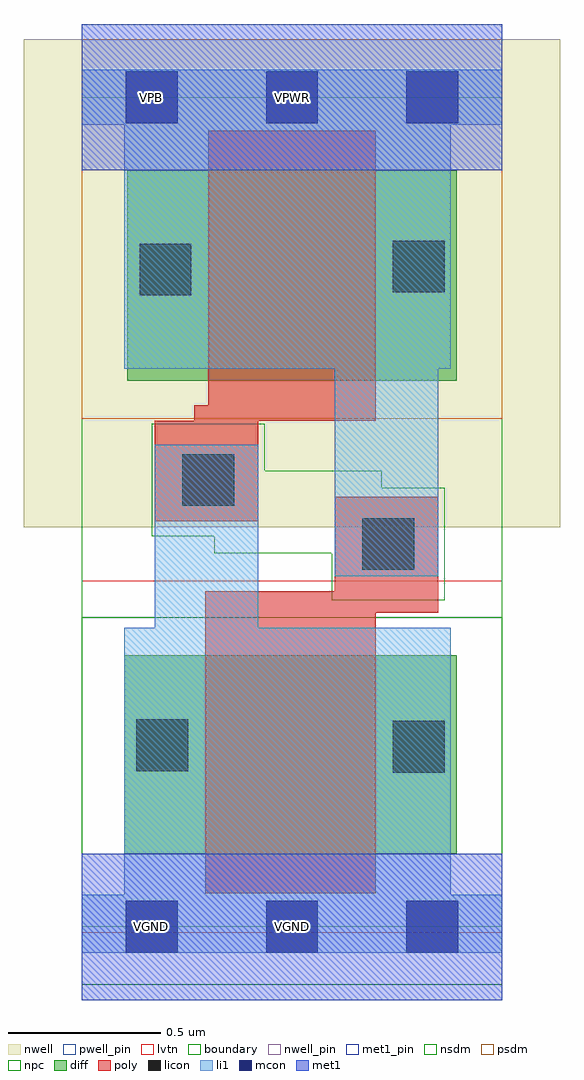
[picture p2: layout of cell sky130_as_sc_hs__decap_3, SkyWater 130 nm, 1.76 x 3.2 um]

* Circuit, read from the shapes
.subckt sky130_as_sc_hs__decap_3 VGND VNB VPB VPWR
XM1 VGND VPWR VGND VNB sky130_fd_pr__nfet_01v8_lvt w=0.65 l=0.56
XM2 VPWR VGND VPWR VPB sky130_fd_pr__pfet_01v8 w=0.69 l=0.55
.ends

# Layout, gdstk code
import gdstk
lib = gdstk.Library(unit=1e-6, precision=1e-09)
def R(c, l, rs):  # rectangles x0, y0, x1, y1
    for r in rs: c.add(gdstk.rectangle(r[:2], r[2:], *l))
def A(c, l, x, y, w, h, nx, ny, dx, dy):  # array of equal rectangles
    R(c, l, [(x+i*dx, y+j*dy, x+i*dx+w, y+j*dy+h) for i in range(nx) for j in range(ny)])
nwell_pin = (64, 16)
nwell = (64, 20)
diff = (65, 20)
poly = (66, 20)
licon = (66, 44)
li1 = (67, 20)
mcon = (67, 44)
met1_pin = (68, 16)
met1 = (68, 20)
nsdm = (93, 44)
psdm = (94, 20)
npc = (95, 20)
pwell_pin = (122, 16)
lvtn = (125, 44)
boundary = (235, 4)

sky130_as_sc_hs__decap_3 = lib.new_cell('sky130_as_sc_hs__decap_3')
R(sky130_as_sc_hs__decap_3, nwell_pin, [(0.145,2.635,0.315,2.805)])
R(sky130_as_sc_hs__decap_3, nwell, [(-0.19,1.31,1.57,2.91)])
R(sky130_as_sc_hs__decap_3, diff, [(0.14,0.24,1.23,0.89), (0.15,1.79,1.23,2.48)])
R(sky130_as_sc_hs__decap_3, poly, [(0.405,0.11,0.965,1.03), (0.405,1.03,1.17,1.1), (0.83,1.1,1.17,1.41), (0.24,1.33,0.58,1.66), (0.37,1.66,0.965,1.71), (0.415,1.71,0.965,2.61)])
R(sky130_as_sc_hs__decap_3, licon, [(1.02,0.505,1.19,0.675), (0.18,0.51,0.35,0.68), (0.92,1.17,1.09,1.34), (0.33,1.38,0.5,1.55), (0.19,2.07,0.36,2.24), (1.02,2.08,1.19,2.25)])
R(sky130_as_sc_hs__decap_3, li1, [(0,-0.085,1.38,0.105), (0.14,0.105,1.21,0.98), (0.24,0.98,0.58,1.58), (0.83,1.15,1.17,1.83), (0.14,1.83,1.21,2.63), (0,2.63,1.38,2.81)])
A(sky130_as_sc_hs__decap_3, mcon, 0.145, -0.085, 0.17, 0.17, 3, 2, 0.46, 2.72)
R(sky130_as_sc_hs__decap_3, met1_pin, [(0,-0.24,1.38,0.24), (0.145,-0.085,0.315,0.085), (0,2.48,1.38,2.96), (0.145,2.635,0.315,2.805)])
R(sky130_as_sc_hs__decap_3, met1, [(0,-0.24,1.38,0.24), (0,2.48,1.38,2.96)])
R(sky130_as_sc_hs__decap_3, nsdm, [(0,-0.19,1.38,1.015)])
R(sky130_as_sc_hs__decap_3, psdm, [(0,1.665,1.38,2.91)])
R(sky130_as_sc_hs__decap_3, npc, [(0.82,1.07,1.19,1.225), (0.435,1.225,1.19,1.28), (0.23,1.28,1.19,1.44), (0.23,1.44,0.985,1.495), (0.23,1.495,0.6,1.65)])
R(sky130_as_sc_hs__decap_3, pwell_pin, [(0.145,-0.085,0.315,0.085)])
R(sky130_as_sc_hs__decap_3, lvtn, [(0,-0.02,1.38,1.135)])
R(sky130_as_sc_hs__decap_3, boundary, [(0,0,1.38,2.72)])
sky130_as_sc_hs__decap_3.add(gdstk.Label('VPB', (0.23,2.72), layer=64, texttype=5))
sky130_as_sc_hs__decap_3.add(gdstk.Label('VPB', (0.23,2.72), layer=64, texttype=5))
sky130_as_sc_hs__decap_3.add(gdstk.Label('VPWR', (0.23,2.72), layer=68, texttype=5))
sky130_as_sc_hs__decap_3.add(gdstk.Label('VPWR', (0.69,2.72), layer=68, texttype=5))
sky130_as_sc_hs__decap_3.add(gdstk.Label('VGND', (0.69,0), layer=68, texttype=5))
sky130_as_sc_hs__decap_3.add(gdstk.Label('VGND', (0.23,0), layer=68, texttype=5))
sky130_as_sc_hs__decap_3.add(gdstk.Label('VNB', (0.23,0), layer=64, texttype=59))
sky130_as_sc_hs__decap_3.add(gdstk.Label('VNB', (0.23,0), layer=64, texttype=59))

lib.write_gds('sky130_as_sc_hs__decap_3.gds')
